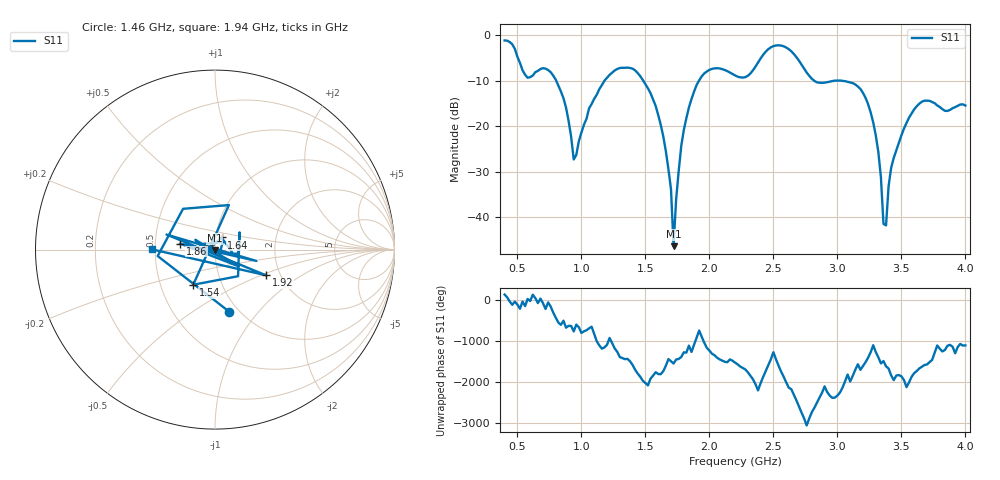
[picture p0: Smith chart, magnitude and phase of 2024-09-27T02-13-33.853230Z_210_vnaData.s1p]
!Created with skrf (http://scikit-rf.org).
# Hz S RI R 50.0
!freq ReS11 ImS11
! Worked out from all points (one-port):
!   181 points, 400 MHz to 4 GHz, reference 50 ohm
!   lowest |S11| = -46.3 dB at 1.72 GHz (marker M1), VSWR 1.01, Z = 49.8 - j0.439 ohm
!   |S11| at or under -10 dB: 802.8 MHz to 1.18 GHz (377.4 MHz wide, 38.1 % of centre); 1.483 GHz to 1.919 GHz (436 MHz wide, 25.6 % of centre); 3.028 GHz to end of sweep (the widest 3 of 4)
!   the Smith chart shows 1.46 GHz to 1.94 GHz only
!   S11 on the Smith chart (normalised r, x): 1.46 GHz: 0.90, -0.71; 1.54 GHz: 0.73, -0.30; 1.64 GHz: 1.07, +0.15; 1.86 GHz: 0.67, +0.05; 1.92 GHz: 1.69, -0.54; 1.94 GHz: 0.48, +0.00
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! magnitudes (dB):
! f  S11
! 400 MHz  -1.2
! 580 MHz  -9.4
! 740 MHz  -7.7
! 860 MHz  -13.9
! 940 MHz  -27.3
! 1.06 GHz  -16.1
! 1.3 GHz  -7.2
! 1.46 GHz  -9.0
! 1.54 GHz  -12.8
! 1.64 GHz  -22.3
! 1.7 GHz  -33.9
! 1.72 GHz  -46.3
! 1.76 GHz  -29.9
! 1.86 GHz  -14.1
! 1.92 GHz  -9.9
! 1.94 GHz  -9.1
! 2.2 GHz  -8.8
! 2.5 GHz  -2.4
! 2.66 GHz  -4.2
! 2.84 GHz  -10.4
! 3.1 GHz  -10.4
! 3.28 GHz  -19.2
! 3.34 GHz  -31.2
! 3.36 GHz  -41.4
! 3.38 GHz  -41.8
! 3.42 GHz  -29.1
! 3.56 GHz  -18.1
! 4 GHz  -15.5
